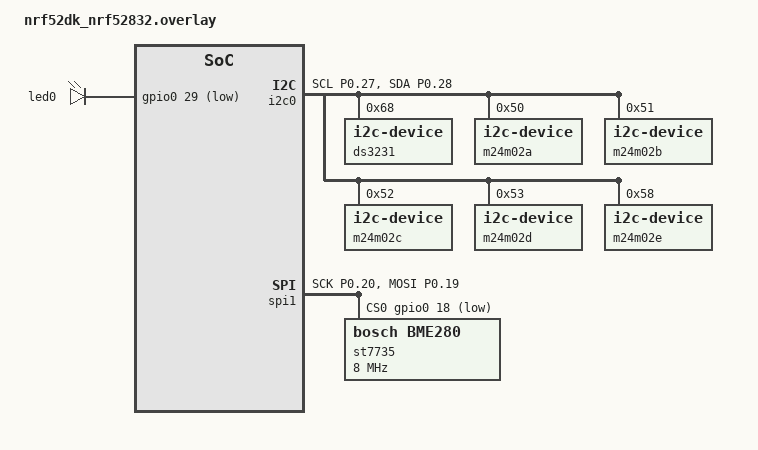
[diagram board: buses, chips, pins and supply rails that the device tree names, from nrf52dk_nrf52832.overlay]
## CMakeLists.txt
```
cmake_minimum_required(VERSION 3.20.0)
find_package(Zephyr REQUIRED HINTS $ENV{ZEPHYR_BASE})

project(25_CubeWatch)

target_sources(app PRIVATE src/main.c src/ds3231_driver.c src/st7735_driver.c 
        src/nrf52832_driver.c src/m24m02_driver.c src/qoi.c src/led.c)
```

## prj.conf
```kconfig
CONFIG_I2C=y
CONFIG_CBPRINTF_FP_SUPPORT=y

CONFIG_LOG=y

CONFIG_SPI=y

CONFIG_BT=y
CONFIG_BT_PERIPHERAL=y
CONFIG_BT_DEVICE_NAME="Cube Watch"

# CONFIG_HEAP_MEM_POOL_SIZE=2048
```

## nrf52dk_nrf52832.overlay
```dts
// To get started, press Ctrl+Space to bring up the completion menu and view the available nodes.

// You can also use the buttons in the sidebar to perform actions on nodes.
// Actions currently available include:

// * Enabling / disabling the node
// * Adding the bus to a bus
// * Removing the node
// * Connecting ADC channels

// For more help, browse the DeviceTree documentation at https://docs.zephyrproject.org/latest/guides/dts/index.html
// You can also visit the nRF DeviceTree extension documentation at https://nrfconnect.github.io/vscode-nrf-connect/devicetree/nrfdevicetree.html

/* i2c0 can not be used together with spi0 same as i2c1 with spi1 */

// disable spi0
&spi0 {
    status = "disabled";
};

// disable i2c0
// &i2c0 {
//     status = "disabled";
// };

// disable spi1
// &spi1 {
//     status = "disabled";
// };


// disable i2c1
&i2c1 {
    status = "disabled";
};

&pinctrl {
    i2c0_default: i2c0_default {
        group1 {
            psels = <NRF_PSEL(TWIM_SCL, 0, 27)>,
                    <NRF_PSEL(TWIM_SDA, 0, 28)>;
        };
    };

    i2c0_sleep: i2c0_sleep {
        group1 {
            psels = <NRF_PSEL(TWIM_SCL, 0, 27)>,
                    <NRF_PSEL(TWIM_SDA, 0, 28)>;
            low-power-enable;
        };
    };

    spi1_default: spi1_default {
        group1 {
            psels = <NRF_PSEL(SPIM_SCK, 0, 20)>,
                    <NRF_PSEL(SPIM_MOSI, 0, 19)>;
        };
    };

    spi1_sleep: spi1_sleep {
        group1 {
            psels = <NRF_PSEL(SPIM_SCK, 0, 20)>,
                    <NRF_PSEL(SPIM_MOSI, 0, 19)>;
            low-power-enable;
        };
    };

};

&i2c0 {
    compatible = "nordic,nrf-twim";
	status = "okay";
	pinctrl-0 = <&i2c0_default>;
	pinctrl-1 = <&i2c0_sleep>;
	pinctrl-names = "default", "sleep";

    ds3231: ds3231@68{
        compatible = "i2c-device";
        reg = < 0x68 >;
        status = "okay";
    };

    m24m02a: m24m02a@50{                                                                            // A17 A16 = 0 0
        compatible = "i2c-device";
        reg = < 0x50 >;
        status = "okay";
    };

    m24m02b: m24m02b@51{                                                                            // A17 A16 = 0 1
        compatible = "i2c-device";
        reg = < 0x51 >;
        status = "okay";
    };

    m24m02c: m24m02c@52{                                                                            // A17 A16 = 1 0
        compatible = "i2c-device";
        reg = < 0x52 >;
        status = "okay";
    };

    m24m02d: m24m02d@53{                                                                            // A17 A16 = 1 1
        compatible = "i2c-device";
        reg = < 0x53 >;
        status = "okay";
    };

    m24m02e: m24m02e@58{
        compatible = "i2c-device";
        reg = < 0x58 >;
        status = "okay";
    };
};

&spi1 {
    compatible = "nordic,nrf-spi";
    status = "okay";
    pinctrl-0 = <&spi1_default>;
    pinctrl-1 = <&spi1_sleep>;
    pinctrl-names = "default", "sleep";
    cs-gpios = <&gpio0 18 GPIO_ACTIVE_LOW>,                                                         // cs
               <&gpio0 17 GPIO_ACTIVE_LOW>,                                                         // 0: cmd mode, 1: data mode
               <&gpio0 16 GPIO_ACTIVE_HIGH>;                                                        // bl

    st7735: st7735@0 {                                                                              // width: 130, height: 131
        compatible = "bosch,bme280";                                                                // use this as a common spi device
		reg = <0x0>;
        spi-max-frequency = <8000000>;
	};
};

/ {
    leds {
        led0: led_0 {
			gpios = <&gpio0 29 GPIO_ACTIVE_LOW>;
		};
    };
};
```

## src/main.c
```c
#include "main.h"
#include "common.h"

#include <zephyr/kernel.h>

#include <zephyr/logging/log.h>

LOG_MODULE_REGISTER(main, LOG_LEVEL_ERR);

static void write_screen_thread(void) {
	while(1) {
		// read time
		ds3231_time_read();

		if(ds3231_is_time_changed()) {

			ds3231_time_cover();

			// display
			// st7735_screen_write();
		}
		LOG_DBG("running...");
		k_msleep(1000);
	}
}

K_THREAD_DEFINE(write_screen_thread_id, STACKSIZE, write_screen_thread, 
		NULL, NULL, NULL, WRITE_SCREEN_PRIORITY, 0, 0);

void write_screen_thread_suspend(void) {
	k_thread_suspend(write_screen_thread_id);
}

void write_screen_thread_resume(void) {
	k_thread_resume(write_screen_thread_id);
}

int main(void)
{
	if(ds3231_init()) {
		LOG_ERR("ds3231 init failed!");
		return -1;
	}

	if(ds3231_time_write(0x50, 0x49, 0x15, 0x06, 0x02, 0x04, 0x24)) {
		LOG_ERR("time write failed!");
		return -1;
	}
	LOG_DBG("ds3231 init succeed!");

	if(m24m02_init()) {
		LOG_ERR("m24m02 init failed!");
		return -1;
	}
	LOG_DBG("m24m02 init succeed!");

	if(st7735_init()) {
		LOG_ERR("st7735 init failed!");
		return -1;
	}
	LOG_DBG("st7735 init succeed!");

	if(nrf52832_init()) {
		LOG_ERR("nrf52832 init failed!");
		return -1;
	}

	if (led_init()) {
		LOG_ERR("led init failed!");
		return -1;
	}

	ds3231_time_read();
	// st7735_screen_write();

	qoi_init();
	led_on();

	// uint8_t *buf;
	// buf = k_malloc(5);
	// if (buf) {
	// 	LOG_ERR("malloc have enough space");
	// } else {
	// 	LOG_ERR("malloc no enough space");
	// }

    return 0;
}
```

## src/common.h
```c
#ifndef _COMMON_H_
#define _COMMON_H_

#include <zephyr/kernel.h>

int ds3231_init(void);
int ds3231_time_write(uint8_t seconds, uint8_t minutes, uint8_t hours, 
        uint8_t day, uint8_t date, uint8_t month_century, uint8_t year);
int ds3231_time_read(void);
void ds3231_time_cover(void);
int ds3231_is_time_changed(void);
uint8_t ds3231_get_time_minutes_units(void);
uint8_t ds3231_get_time_minutes_tens(void);
uint8_t ds3231_get_time_hours_units(void);
uint8_t ds3231_get_time_hours_tens(void);
void ds3231_bcd_time_curr_print(void);
void ds3231_dec_time_curr_print(void);

int st7735_init(void);
// int st7735_screen_write(void);

int nrf52832_init(void);

void write_screen_thread_suspend(void);
void write_screen_thread_resume(void);

int m24m02_init(void);
int m24m02x_write(uint8_t sector, uint8_t addr_high, uint8_t addr_low, uint8_t *buf, size_t length);
int m24m02e_write(uint8_t addr, uint8_t *buf, size_t length);
int m24m02x_read(uint8_t sector, uint8_t addr_high, uint8_t addr_low, uint8_t *buf, size_t length);
int m24m02e_read(uint8_t addr, uint8_t *buf, size_t length);

void qoi_init(void);

int led_init(void);
int led_on(void);
int led_off(void);

#endif
```

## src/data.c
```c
#include "data.h"

#include <zephyr/kernel.h>

#include <zephyr/logging/log.h>

LOG_MODULE_REGISTER(data, LOG_LEVEL_DBG);

uint8_t* get_ds3231_reg_value_bcd_st(void) {
    return &ds3231_reg_value_bcd;
}

uint8_t* get_ds3231_reg_value_dec_st(void) {
    return &ds3231_reg_value_dec;
}

uint8_t* get_ds3231_reg_value_dec_previous_st(void) {
    return &ds3231_reg_value_dec_previous;
}

void ds3231_reg_value_bcd_print(void) {
    LOG_DBG("seconds reg is: 0x%.02x", *get_ds3231_reg_value_bcd_st());
    LOG_DBG("minutes reg is: 0x%.02x", *(get_ds3231_reg_value_bcd_st() + 1));
	LOG_DBG("hours reg is: 0x%.02x", *(get_ds3231_reg_value_bcd_st() + 2));
	LOG_DBG("");
}

void ds3231_reg_value_dec_print(void) {
    LOG_DBG("minutes units: %d", *get_ds3231_reg_value_dec_st());
	LOG_DBG("minutes tens: %d", *(get_ds3231_reg_value_dec_st() + 1));
	LOG_DBG("hours units: %d", *(get_ds3231_reg_value_dec_st() + 2));
	LOG_DBG("hours tens: %d", *(get_ds3231_reg_value_dec_st() + 3));
	LOG_DBG("");
}

void ds3231_reg_value_dec_previous_print(void) {
    LOG_DBG("minutes units: %d", *get_ds3231_reg_value_dec_previous_st());
	LOG_DBG("minutes tens: %d", *(get_ds3231_reg_value_dec_previous_st() + 1));
	LOG_DBG("hours units: %d", *(get_ds3231_reg_value_dec_previous_st() + 2));
	LOG_DBG("hours tens: %d", *(get_ds3231_reg_value_dec_previous_st() + 3));
	LOG_DBG("");
}
```

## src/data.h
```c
#ifndef _DATA_H_
#define _DATA_H_

#include <zephyr/kernel.h>

struct ds3231_reg_value_bcd_st {
    uint8_t seconds;
    uint8_t minutes;
    uint8_t hours;
    uint8_t day;
    uint8_t date;
    uint8_t month_century;
    uint8_t year;
};

static struct ds3231_reg_value_bcd_st ds3231_reg_value_bcd;                                         // get time from ds3231

struct ds3231_reg_value_dec_st {
    uint8_t minutes_units;
    uint8_t minutes_tens;
    uint8_t hours_units;
    uint8_t hours_tens;
};

static struct ds3231_reg_value_dec_st ds3231_reg_value_dec;                                         // dec time
static struct ds3231_reg_value_dec_st ds3231_reg_value_dec_previous;                                // last second's dec time

uint8_t* get_ds3231_reg_value_bcd_st(void);
uint8_t* get_ds3231_reg_value_dec_st(void);
uint8_t* get_ds3231_reg_value_dec_previous_st(void);
void ds3231_reg_value_bcd_print(void);
void ds3231_reg_value_dec_print(void);
void ds3231_reg_value_dec_previous_print(void);
uint8_t* get_ds3231_set_time(void);

#endif
```

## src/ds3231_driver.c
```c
#include "ds3231_driver.h"
#include "common.h"

#include <zephyr/kernel.h>
#include <zephyr/drivers/i2c.h>

#include <zephyr/logging/log.h>

LOG_MODULE_REGISTER(ds3231, LOG_LEVEL_DBG);

static const struct i2c_dt_spec ds3231_i2c = I2C_DT_SPEC_GET(DT_NODELABEL(ds3231));

/*
 * @brief ds3231 init func
 *
 * @retval 0 succeed
 * @retval -1 failed
 */
int ds3231_init(void) {
    if(!device_is_ready(ds3231_i2c.bus)) {
        return -1;
    }

    if(ds3231_control_reg_init()) {
        return -1;
    }

    if(ds3231_time_read()) {
        return -1;
    }
    ds3231_time_cover();

    return 0;
}

/*
 * @brief control register init func
 *
 * @retval 0 succeed
 * @retval -1 failed
 */
static int ds3231_control_reg_init(void) {
    ds3231_tx_buf[0] = DS3231_CONTROL_REG_ADDRESS;
    ds3231_tx_buf[1] = 0x1C;

    return ds3231_write(2);
}

/*
 * @brief write reg(s) value
 *
 * @param length length to write
 * 
 * @retval 0 succeed
 * @retval -1 failed
 */
static int ds3231_write(size_t length) {
    return i2c_write_dt(&ds3231_i2c, ds3231_tx_buf, length);
}

/*
 * @brief write time
 *
 * @param buf data buffer will be written into register(s)
 * 
 * @retval 0 succeed
 * @retval -1 failed
 */
int ds3231_time_write(uint8_t seconds, uint8_t minutes, uint8_t hours, 
        uint8_t day, uint8_t date, uint8_t month_century, uint8_t year) {
    ds3231_tx_buf[0] = DS3231_SECONDS_REG_ADDRESS;
    ds3231_tx_buf[1] = seconds;                                                                     // SECONDS
    ds3231_tx_buf[2] = minutes;                                                                     // MINUTES
    ds3231_tx_buf[3] = hours;                                                                       // HOURS
    ds3231_tx_buf[4] = day;                                                                         // DAY
    ds3231_tx_buf[5] = date;                                                                        // DATE
    ds3231_tx_buf[6] = month_century;                                                               // MONTH_CENTURY
    ds3231_tx_buf[7] = year;                                                                        // YEAR

    return ds3231_write(8);
}

/*
 * @brief read from reg(s)
 *
 * @retval 0 succeed
 * @retval -1 failed
 */
int ds3231_time_read(void) {
    if (i2c_write_read_dt(&ds3231_i2c, ds3231_rx_addr, 1, &ds3231_bcd_time_curr, 7)) {
        return -1;
    }
    ds3231_time_bcd_2_dec();
    return 0;
}

/*
 * @brief cover latest time to previous time
 */
void ds3231_time_cover(void) {
    memcpy(&ds3231_bcd_time_prev, &ds3231_bcd_time_curr, sizeof(struct ds3231_time_st));
}

/*
 * @brief bcd data to dec data
 */
static void ds3231_time_bcd_2_dec(void) {
    ds3231_dec_time_curr.seconds = ds3231_bcd_2_dec(ds3231_bcd_time_curr.seconds);
    ds3231_dec_time_curr.minutes = ds3231_bcd_2_dec(ds3231_bcd_time_curr.minutes);
    ds3231_dec_time_curr.hours = ds3231_bcd_2_dec(ds3231_bcd_time_curr.hours);
    ds3231_dec_time_curr.day = ds3231_bcd_2_dec(ds3231_bcd_time_curr.day);
    ds3231_dec_time_curr.date = ds3231_bcd_2_dec(ds3231_bcd_time_curr.date);
    ds3231_dec_time_curr.month_century = ds3231_bcd_2_dec(ds3231_bcd_time_curr.month_century);
    ds3231_dec_time_curr.year = ds3231_bcd_2_dec(ds3231_bcd_time_curr.year);
}

/*
 * @brief bcd data to dec data
 */
static uint8_t ds3231_bcd_2_dec(uint8_t bcd) {

    uint8_t temp_tens = bcd >> 4;
    uint8_t temp_units = bcd & 0x0F;

    return temp_tens * 10 + temp_units;
}

/*
 * @brief if time changed
 *
 * @retval 0 not changed
 * @retval others changed
 */
int ds3231_is_time_changed(void) {
    return memcmp(&ds3231_bcd_time_curr + DS3231_MINUTES_REG_ADDRESS, 
            &ds3231_bcd_time_prev + DS3231_MINUTES_REG_ADDRESS, DS3231_YEAR_REG_ADDRESS);
}

/*
 * @brief get minutes units
 *
 * @return uint8_t minutes units
 */
uint8_t ds3231_get_time_minutes_units(void) {
    return ds3231_dec_time_curr.minutes % 10;
}

/*
 * @brief get minutes tens
 *
 * @return uint8_t minutes tens
 */
uint8_t ds3231_get_time_minutes_tens(void) {
    return ds3231_dec_time_curr.minutes / 10;
}

/*
 * @brief get hours units
 *
 * @return uint8_t hours units
 */
uint8_t ds3231_get_time_hours_units(void) {
    return ds3231_dec_time_curr.hours % 10;
}

/*
 * @brief get hours tens
 *
 * @return uint8_t hours tens
 */
uint8_t ds3231_get_time_hours_tens(void) {
    return ds3231_dec_time_curr.hours / 10;
}

/*
 * @brief print bcd current time
 */
void ds3231_bcd_time_curr_print(void) {
    LOG_DBG("bcd time current [seconds] is: 0x%.02x", ds3231_bcd_time_curr.seconds);
	LOG_DBG("bcd time current [minutes] is: 0x%.02x", ds3231_bcd_time_curr.minutes);
    LOG_DBG("bcd time current [hours] is: 0x%.02x", ds3231_bcd_time_curr.hours);
    LOG_DBG("bcd time current [day] is: 0x%.02x", ds3231_bcd_time_curr.day);
    LOG_DBG("bcd time current [date] is: 0x%.02x", ds3231_bcd_time_curr.date);
    LOG_DBG("bcd time current [month_century] is: 0x%.02x", ds3231_bcd_time_curr.month_century);
    LOG_DBG("bcd time current [year] is: 0x%.02x", ds3231_bcd_time_curr.year);
}

/*
 * @brief print dec current time
 */
void ds3231_dec_time_curr_print(void) {
    LOG_DBG("dec time current [seconds] is: %d", ds3231_dec_time_curr.seconds);
	LOG_DBG("dec time current [minutes] is: %d", ds3231_dec_time_curr.minutes);
    LOG_DBG("dec time current [hours] is: %d", ds3231_dec_time_curr.hours);
    LOG_DBG("dec time current [day] is: %d", ds3231_dec_time_curr.day);
    LOG_DBG("dec time current [date] is: %d", ds3231_dec_time_curr.date);
    LOG_DBG("dec time current [month_century] is: %d", ds3231_dec_time_curr.month_century);
    LOG_DBG("dec time current [year] is: %d", ds3231_dec_time_curr.year);
}
```

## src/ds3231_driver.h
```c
#ifndef _DS3231_DRIVER_H_
#define _DS3231_DRIVER_H_

#include <zephyr/kernel.h>

#define DS3231_SECONDS_REG_ADDRESS          0x00
#define DS3231_MINUTES_REG_ADDRESS          0x01
#define DS3231_HOURS_REG_ADDRESS            0x02
#define DS3231_DAY_REG_ADDRESS              0x03
#define DS3231_DATE_REG_ADDRESS             0x04
#define DS3231_MONTH_CENTURY_REG_ADDRESS    0x05
#define DS3231_YEAR_REG_ADDRESS             0x06
#define DS3231_CONTROL_REG_ADDRESS			0x0E

#define DS3231_TX_BUF_SIZE_MAX 20                                                                   // 19 register + addr
#define DS3231_RX_ADDR_BUF_SIZE 1

static uint8_t ds3231_tx_buf[DS3231_TX_BUF_SIZE_MAX];
static uint8_t ds3231_rx_addr[DS3231_RX_ADDR_BUF_SIZE];

struct ds3231_time_st {
    uint8_t seconds;
    uint8_t minutes;
    uint8_t hours;
    uint8_t day;
    uint8_t date;
    uint8_t month_century;
    uint8_t year;
};

static struct ds3231_time_st ds3231_bcd_time_curr;											        // current bcd time
static struct ds3231_time_st ds3231_bcd_time_prev;											        // previous bcd time
static struct ds3231_time_st ds3231_dec_time_curr;                                                  // current dec time

static int ds3231_control_reg_init(void);
static int ds3231_write(size_t length);
static void ds3231_time_bcd_2_dec(void);
static uint8_t ds3231_bcd_2_dec(uint8_t bcd);

#endif
```

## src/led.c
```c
#include "led.h"
#include "common.h"

#include <zephyr/kernel.h>

#include <zephyr/drivers/gpio.h>

struct gpio_dt_spec led_gpiospec = GPIO_DT_SPEC_GET(DT_NODELABEL(led0), gpios);

/*
 * @brief led init func
 *
 * @retval 0 succeed
 * @retval -1 failed
 */
int led_init(void) {

	if(!gpio_is_ready_dt(&led_gpiospec)) {
		return -1;
	}

    if(gpio_pin_configure_dt(&led_gpiospec, GPIO_OUTPUT_INACTIVE)) {
		return -1;
	}

	return 0;
}

int led_on(void) {
    if(gpio_pin_configure_dt(&led_gpiospec, GPIO_OUTPUT_ACTIVE)) {
		return -1;
	}

    return 0;
}

int led_off(void) {
    if(gpio_pin_configure_dt(&led_gpiospec, GPIO_OUTPUT_INACTIVE)) {
		return -1;
	}

    return 0;
}
```

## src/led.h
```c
#ifndef _LED_H_
#define _LED_H_

#endif
```

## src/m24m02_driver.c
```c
#include "m24m02_driver.h"
#include "common.h"

#include <zephyr/kernel.h>
#include <zephyr/drivers/i2c.h>

#include <zephyr/logging/log.h>

LOG_MODULE_REGISTER(m24m02, LOG_LEVEL_ERR);

/*
 * @brief m24m02 is a 2Mbit EEPROM, 
 *        A0-A17 address bits, 2 ^ 8 * 2 ^ 10 = 256K, 
 *        each address bit corresponding 1 byte data, 
 *        256K * 8 bit = 2Mbit. 
 */
static const struct i2c_dt_spec m24m02a_i2c = I2C_DT_SPEC_GET(DT_NODELABEL(m24m02a));
/*
 * @brief m24m02b (same as m24m02a, m24m02c, m24m02d) can be regarded as 512Kbit memory, 
 *        A0-A15 address bits, 2 ^ 6 * 2 ^ 10 = 64K, 
 *        each address bit corresponding 1 byte data, 
 *        64K * 8 bit = 512Kbit. 
 */
static const struct i2c_dt_spec m24m02b_i2c = I2C_DT_SPEC_GET(DT_NODELABEL(m24m02b));
static const struct i2c_dt_spec m24m02c_i2c = I2C_DT_SPEC_GET(DT_NODELABEL(m24m02c));
static const struct i2c_dt_spec m24m02d_i2c = I2C_DT_SPEC_GET(DT_NODELABEL(m24m02d));
/*
 * @brief m24m02e is the Identification Page (256 byte), 
 *        A0-A7 address bit, 2 ^ 8 = 256, 
 *        each address bit corresponding 1 byte data, 
 *        256 * 8 bit = 256 byte. 
 */
static const struct i2c_dt_spec m24m02e_i2c = I2C_DT_SPEC_GET(DT_NODELABEL(m24m02e));

/*
 * @brief m24m02 init function
 *
 * @retval 0 succeed
 * @retval -1 failed
 */
int m24m02_init(void) {

    if(!device_is_ready(m24m02a_i2c.bus)) {
        return -1;
    }

    if(!device_is_ready(m24m02b_i2c.bus)) {
        return -1;
    }

    if(!device_is_ready(m24m02c_i2c.bus)) {
        return -1;
    }

    if(!device_is_ready(m24m02d_i2c.bus)) {
        return -1;
    }

    if(!device_is_ready(m24m02e_i2c.bus)) {
        return -1;
    }

    return 0;
}

/*
 * @brief m24m02 write byte
 *
 * @param sector a = 0, b = 1, c = 2 and d = 3
 * @param addr_high A15-A8 address
 * @param addr_low A7-A0 address
 * @param buf data buffer
 * @param length data length
 * 
 * @retval 0 succeed
 * @retval -1 failed
 */
int m24m02x_write(uint8_t sector, uint8_t addr_high, uint8_t addr_low, 
        uint8_t *buf, size_t length) {

    LOG_DBG("[sector %d] remains %d byte, and need %d byte...", 
            sector, (256 - addr_high - 1) * 256 + (256 - addr_low), length);

    // check if there is enough space
    if (((256 - addr_high - 1) * 256 + (256 - addr_low)) >= length) {                               // enough

        LOG_DBG("enough space...");

        uint8_t curr_addr_high = addr_high;
        uint8_t curr_addr_low = addr_low;
        size_t shift = 0;

        if (length <= (256 - curr_addr_low)) {                                                      // 1 page

            LOG_DBG("need 1 page...");
            LOG_DBG("start to write page 1...");

            memcpy(m24m02_tx_buf, buf, length);
            if (m24m02_send(sector, curr_addr_high, curr_addr_low, length)) {
                return -1;
            }

            LOG_DBG("write from 0x%.02x 0x%.02x to 0x%.02x 0x%.02x, %d byte...", 
                    curr_addr_high, curr_addr_low, curr_addr_high, 
                    curr_addr_low + length - 1, length);
            LOG_DBG("page 1 done...");
            LOG_DBG("remain 0 byte...");
            LOG_DBG("write secceed.");
            printk("\r\n");

            return 0;

        } else {                                                                                    // > 1 page

            LOG_DBG("need more than 1 page.");
            LOG_DBG("start to write page 1...");

            memcpy(m24m02_tx_buf, buf, 256 - curr_addr_low);
            if (m24m02_send(sector, curr_addr_high, curr_addr_low, 256 - curr_addr_low)) {
                return -1;
            }

            shift = 256 - curr_addr_low;

            LOG_DBG("write from 0x%.02x 0x%.02x to 0x%.02x 0xFF, %d byte...", 
                    curr_addr_high, curr_addr_low, curr_addr_high, shift);
            LOG_DBG("page 1 done...");
            LOG_DBG("remain %d byte...", length - shift);
            LOG_DBG("buf pointer moves from %p to %p...", (void *)buf, (void *)(buf + shift - 1));
            LOG_DBG("shift is %d...", shift);
            printk("\r\n");

            curr_addr_high += 1;                                                                    // will not bound
            curr_addr_low = 0x00;

            uint8_t i;

            for (i = 0; i < ((length - (256 - addr_low)) / 256); i++) {

                LOG_DBG("start to write page %d...", i + 2);

                memcpy(m24m02_tx_buf, buf + shift, 256);
                if (m24m02_send(sector, curr_addr_high, curr_addr_low, 256)) {
                    return -1;
                }

                shift += 256;

                LOG_DBG("write from 0x%.02x 0x00 to 0x%.02x 0xFF, 256 byte...", 
                        curr_addr_high, curr_addr_high);
                LOG_DBG("page %d done...", i + 2);
                LOG_DBG("remain %d byte...", length - shift);

                if (length - shift == 0) {                                                          // no data left
                    LOG_DBG("write secceed.");
                    printk("\r\n");
                    return 0;
                } else {
                    curr_addr_high += 1;                                                            // will not bound

                    LOG_DBG("buf pointer moves from %p to %p...", 
                            (void *)(buf + shift - 256), (void *)(buf + shift - 1));
                    LOG_DBG("shift is %d...", shift);
                    printk("\r\n");
                }
            }

            if (i == 0) {                                                                           // not enter the loop
                i = 2;
            } else {
                i = (length - (256 - addr_low)) / 256 + 2;
            }

            LOG_DBG("start to write page %d...", i);

            memcpy(m24m02_tx_buf, buf + shift, length - shift);
            if (m24m02_send(sector, curr_addr_high, curr_addr_low, length - shift)) {
                return -1;
            }

            LOG_DBG("write from 0x%.02x 0x00 to 0x%.02x 0x%.02x, %d byte...", 
                    curr_addr_high, curr_addr_high, length - shift - 1, length - shift);
            LOG_DBG("page %d done...", i);
            LOG_DBG("remain 0 byte...");
            LOG_DBG("write secceed.");
            printk("\r\n");

            return 0;
        }
    } else {                                                                                        // not enough

        LOG_ERR("no enough space!");
        LOG_ERR("write failed!");
        printk("\r\n");
        return -1;

    }
}

/*
 * @brief m24m02 identification page write byte
 *
 * @param addr A7-A0 address
 * @param buf data buffer
 * @param length data length
 * 
 * @retval 0 succeed
 * @retval -1 failed
 */
int m24m02e_write(uint8_t addr, uint8_t *buf, size_t length) {
    LOG_DBG("[sector e] remains %d byte, and need %d byte...", 256 - addr, length);

    if (length <= 256 - addr) {                                                                     // enough space

        LOG_DBG("enough space...");
        LOG_DBG("start to write [sector e]...");

        memcpy(m24m02_tx_buf, buf, length);
        if (m24m02_send(4, 0x00, addr, length)) {
            return -1;
        }

        LOG_DBG("write from 0x%.02x to 0x%.02x, %d byte...", addr, addr + length - 1, length);
        LOG_DBG("[sector e] done...");
        LOG_DBG("write secceed.");
        printk("\r\n");

        return 0;

    } else {

        LOG_ERR("no enough space!");
        LOG_ERR("write failed!");
        printk("\r\n");
        return -1;

    }
}

static int m24m02_send(uint8_t sector, uint8_t addr_high, uint8_t addr_low, size_t length) {

    if (length + 2 > 255) {                                                                         // should send twice
        if (m24m02_send_twice(sector, addr_high, addr_low, length)) {
            return -1;
        }
    } else {                                                                                        // send once
        if (m24m02_send_once(sector, addr_high, addr_low, length)) {
            return -1;
        }
    }
    
    return 0;
}

static int m24m02_send_twice(uint8_t sector, uint8_t addr_high, uint8_t addr_low, size_t length) {
    m24m02_tx_buf_part1[0] = addr_high;
    m24m02_tx_buf_part1[1] = addr_low;
    memcpy(m24m02_tx_buf_part1 + 2, m24m02_tx_buf, 253);

    m24m02_tx_buf_part2[0] = addr_high;
    m24m02_tx_buf_part2[1] = addr_low + 253;
    memcpy(m24m02_tx_buf_part2 + 2, m24m02_tx_buf + 253, length - 253);

    switch (sector) {
        case 0:
            if(i2c_write_dt(&m24m02a_i2c, m24m02_tx_buf_part1, 255)) {
                return -1;
            }
            k_msleep(DELAY_MS);
            if(i2c_write_dt(&m24m02a_i2c, m24m02_tx_buf_part2, length - 253 + 2)) {
                return -1;
            }
            break;
        case 1:
            if(i2c_write_dt(&m24m02b_i2c, m24m02_tx_buf_part1, 255)) {
                return -1;
            }
            k_msleep(DELAY_MS);
            if(i2c_write_dt(&m24m02b_i2c, m24m02_tx_buf_part2, length - 253 + 2)) {
                return -1;
            }
            break;
        case 2:
            if(i2c_write_dt(&m24m02c_i2c, m24m02_tx_buf_part1, 255)) {
                return -1;
            }
            k_msleep(DELAY_MS);
            if(i2c_write_dt(&m24m02c_i2c, m24m02_tx_buf_part2, length - 253 + 2)) {
                return -1;
            }
            break;
        case 3:
            if(i2c_write_dt(&m24m02d_i2c, m24m02_tx_buf_part1, 255)) {
                return -1;
            }
            k_msleep(DELAY_MS);
            if(i2c_write_dt(&m24m02d_i2c, m24m02_tx_buf_part2, length - 253 + 2)) {
                return -1;
            }
            break;
        case 4:
            if(i2c_write_dt(&m24m02e_i2c, m24m02_tx_buf_part1, 255)) {
                return -1;
            }
            k_msleep(DELAY_MS);
            if(i2c_write_dt(&m24m02e_i2c, m24m02_tx_buf_part2, length - 253 + 2)) {
                return -1;
            }
            break;
        default:
            return -1;
    }

    k_msleep(DELAY_MS);

    return 0;
}

static int m24m02_send_once(uint8_t sector, uint8_t addr_high, uint8_t addr_low, size_t length) {
    m24m02_tx_buf_part1[0] = addr_high;
    m24m02_tx_buf_part1[1] = addr_low;
    memcpy(m24m02_tx_buf_part1 + 2, m24m02_tx_buf, length);

    switch (sector) {
        case 0:
            if(i2c_write_dt(&m24m02a_i2c, m24m02_tx_buf_part1, length + 2)) {
                return -1;
            }
            break;
        case 1:
            if(i2c_write_dt(&m24m02b_i2c, m24m02_tx_buf_part1, length + 2)) {
                return -1;
            }
            break;
        case 2:
            if(i2c_write_dt(&m24m02c_i2c, m24m02_tx_buf_part1, length + 2)) {
                return -1;
            }
            break;
        case 3:
            if(i2c_write_dt(&m24m02d_i2c, m24m02_tx_buf_part1, length + 2)) {
                return -1;
            }
            break;
        case 4:
            if(i2c_write_dt(&m24m02e_i2c, m24m02_tx_buf_part1, length + 2)) {
                return -1;
            }
            break;
        default:
            return -1;
    }
    
    k_msleep(DELAY_MS);

    return 0;
}



/*
 * @brief m24m02 read byte
 *
 * @param sector a, b, c and d
 * @param addr_high A15-A8 address
 * @param addr_low A7-A0 address
 * @param buf where data will be written to
 * @param length data length
 * 
 * @retval 0 succeed
 * @retval -1 failed
 */
int m24m02x_read(uint8_t sector, uint8_t addr_high, uint8_t addr_low, 
        uint8_t *buf, size_t length) {

    if (((256 - addr_high - 1) * 256 + (256 - addr_low)) >= length) {
        LOG_DBG("read address checked...");
        
        uint8_t curr_addr_high = addr_high;
        uint8_t curr_addr_low = addr_low;
        size_t shift = 0;

        if (length <= (256 - curr_addr_low)) {
            LOG_DBG("have 1 page...");
            LOG_DBG("start to read page 1...");

            m24m02_rx_addr[0] = curr_addr_high;
            m24m02_rx_addr[1] = curr_addr_low;
            if (m24m02_receive(sector, buf, length)) {
                return -1;
            }

            LOG_DBG("read from 0x%.02x 0x%.02x to 0x%.02x 0x%.02x, %d byte...", 
                    curr_addr_high, curr_addr_low, curr_addr_high, 
                    curr_addr_low + length - 1, length);
            LOG_DBG("page 1 done...");
            LOG_DBG("remain 0 byte...");
            LOG_DBG("read secceed.");
            printk("\r\n");

            return 0;

        } else {
            LOG_DBG("have more than 1 page...");
            LOG_DBG("start to read page 1...");

            m24m02_rx_addr[0] = curr_addr_high;
            m24m02_rx_addr[1] = curr_addr_low;
            if (m24m02_receive(sector, buf, 256 - curr_addr_low)) {
                return -1;
            }

            shift = 256 - curr_addr_low;

            LOG_DBG("read from 0x%.02x 0x%.02x to 0x%.02x 0xFF, %d byte...", 
                    curr_addr_high, curr_addr_low, curr_addr_high, shift);
            LOG_DBG("page 1 done...");
            LOG_DBG("remain %d byte...", length - shift);
            LOG_DBG("buf pointer moves from %p to %p...", (void *)buf, (void *)(buf + shift - 1));
            LOG_DBG("shift is %d...", shift);
            printk("\r\n");

            curr_addr_high += 1;                                                                    // will not bound
            curr_addr_low = 0x00;

            uint8_t i;

            for (i = 0; i < ((length - (256 - addr_low)) / 256); i++) {

                LOG_DBG("start to read page %d...", i + 2);

                m24m02_rx_addr[0] = curr_addr_high;
                m24m02_rx_addr[1] = curr_addr_low;
                if (m24m02_receive(sector, buf + shift, 256)) {
                    return -1;
                }

                shift += 256;

                LOG_DBG("read from 0x%.02x 0x00 to 0x%.02x 0xFF, 256 byte...", 
                        curr_addr_high, curr_addr_high);
                LOG_DBG("page %d done...", i + 2);
                LOG_DBG("remain %d byte...", length - shift);

                if (length - shift == 0) {                                                          // no data left
                    LOG_DBG("read secceed.");
                    printk("\r\n");
                    return 0;
                } else {
                    curr_addr_high += 1;                                                            // will not bound

                    LOG_DBG("buf pointer moves from %p to %p...", 
                            (void *)(buf + shift - 256), (void *)(buf + shift - 1));
                    LOG_DBG("shift is %d...", shift);
                    printk("\r\n");
                }
            }

            if (i == 0) {                                                                           // not enter the loop
                i = 2;
            } else {
                i = (length - (256 - addr_low)) / 256 + 2;
            }

            LOG_DBG("start to read page %d...", i);

            m24m02_rx_addr[0] = curr_addr_high;
            m24m02_rx_addr[1] = curr_addr_low;
            if (m24m02_receive(sector, buf + shift, length - shift)) {
                return -1;
            }

            LOG_DBG("read from 0x%.02x 0x00 to 0x%.02x 0x%.02x, %d byte...", 
                    curr_addr_high, curr_addr_high, length - shift - 1, length - shift);
            LOG_DBG("page %d done...", i);
            LOG_DBG("remain 0 byte...");
            LOG_DBG("read secceed.");
            printk("\r\n");

            return 0;
        }
    } else {
        LOG_ERR("read address check failed!");
        LOG_ERR("read failed!");
        printk("\r\n");
        return -1;
    }
}

/*
 * @brief m24m02 identification page read byte
 *
 * @param addr A7-A0 address
 * @param buf where data will be written to
 * @param length data length
 * 
 * @retval 0 succeed
 * @retval -1 failed
 */
int m24m02e_read(uint8_t addr, uint8_t *buf, size_t length) {
    if ((256 - addr) >= length) {
        LOG_DBG("read address checked...");
        LOG_DBG("start to read [sector e]...");

        m24m02_rx_addr[0] = 0x00;
        m24m02_rx_addr[1] = addr;
        if (m24m02_receive(4, buf, length)) {
            return -1;
        }

        LOG_DBG("read from 0x%.02x to 0x%.02x, %d byte...", addr, addr + length - 1, length);
        LOG_DBG("[sector e] done...");
        LOG_DBG("read secceed.");
        printk("\r\n");

        return 0;
    } else {

        LOG_ERR("read address check failed!");
        LOG_ERR("read failed!");
        printk("\r\n");
        return -1;

    }
}

static int m24m02_receive(uint8_t sector, uint8_t *buf, size_t length) {

    if (length > 255) {                                                                             // length = 256, should reveive twice
        if (m24m02_receive_twice(sector, buf)) {
            return -1;
        }
    } else {                                                                                        // reveive once
        if (m24m02_receive_once(sector, buf, length)) {
            return -1;
        }
    }
    
    return 0;
}

static int m24m02_receive_twice(uint8_t sector, uint8_t *buf) {

    switch (sector) {
        case 0:
            if(i2c_write_read_dt(&m24m02a_i2c, m24m02_rx_addr, 
                    sizeof(m24m02_rx_addr), buf, 255)) {
                return -1;
            }
            k_msleep(DELAY_MS);
            m24m02_rx_addr[1] = 0xFF;
            if(i2c_write_read_dt(&m24m02a_i2c, m24m02_rx_addr, 
                    sizeof(m24m02_rx_addr), buf + 255, 1)) {
                return -1;
            }
            break;
        case 1:
            if(i2c_write_read_dt(&m24m02b_i2c, m24m02_rx_addr, 
                    sizeof(m24m02_rx_addr), buf, 255)) {
                return -1;
            }
            k_msleep(DELAY_MS);
            m24m02_rx_addr[1] = 0xFF;
            if(i2c_write_read_dt(&m24m02b_i2c, m24m02_rx_addr, 
                    sizeof(m24m02_rx_addr), buf + 255, 1)) {
                return -1;
            }
            break;
        case 2:
            if(i2c_write_read_dt(&m24m02c_i2c, m24m02_rx_addr, 
                    sizeof(m24m02_rx_addr), buf, 255)) {
                return -1;
            }
            k_msleep(DELAY_MS);
            m24m02_rx_addr[1] = 0xFF;
            if(i2c_write_read_dt(&m24m02c_i2c, m24m02_rx_addr, 
                    sizeof(m24m02_rx_addr), buf + 255, 1)) {
                return -1;
            }
            break;
        case 3:
            if(i2c_write_read_dt(&m24m02d_i2c, m24m02_rx_addr, 
                    sizeof(m24m02_rx_addr), buf, 255)) {
                return -1;
            }
            k_msleep(DELAY_MS);
            m24m02_rx_addr[1] = 0xFF;
            if(i2c_write_read_dt(&m24m02d_i2c, m24m02_rx_addr, 
                    sizeof(m24m02_rx_addr), buf + 255, 1)) {
                return -1;
            }
            break;
        case 4:
            if(i2c_write_read_dt(&m24m02e_i2c, m24m02_rx_addr, 
                    sizeof(m24m02_rx_addr), buf, 255)) {
                return -1;
            }
            k_msleep(DELAY_MS);
            m24m02_rx_addr[1] = 0xFF;
            if(i2c_write_read_dt(&m24m02e_i2c, m24m02_rx_addr, 
                    sizeof(m24m02_rx_addr), buf + 255, 1)) {
                return -1;
            }
            break;
        default:
            return -1;
    }

    k_msleep(DELAY_MS);
    
    return 0;
}

static int m24m02_receive_once(uint8_t sector, uint8_t *buf, size_t length) {
    switch (sector) {
        case 0:
            if(i2c_write_read_dt(&m24m02a_i2c, m24m02_rx_addr, 
                    sizeof(m24m02_rx_addr), buf, length)) {
                return -1;
            }
            break;
        case 1:
            if(i2c_write_read_dt(&m24m02b_i2c, m24m02_rx_addr, 
                    sizeof(m24m02_rx_addr), buf, length)) {
                return -1;
            }
            break;
        case 2:
            if(i2c_write_read_dt(&m24m02c_i2c, m24m02_rx_addr, 
                    sizeof(m24m02_rx_addr), buf, length)) {
                return -1;
            }
            break;
        case 3:
            if(i2c_write_read_dt(&m24m02d_i2c, m24m02_rx_addr, 
                    sizeof(m24m02_rx_addr), buf, length)) {
                return -1;
            }
            break;
        case 4:
            if(i2c_write_read_dt(&m24m02e_i2c, m24m02_rx_addr, 
                    sizeof(m24m02_rx_addr), buf, length)) {
                return -1;
            }
            break;
        default:
            return -1;
    }

    k_msleep(DELAY_MS);
    
    return 0;
}
```

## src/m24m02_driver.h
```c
#ifndef _M24M02_DRIVER_H_
#define _M24M02_DRIVER_H_

#include <zephyr/kernel.h>

#define DEBUG_MODE 0                                                                                // 1: true
#if DEBUG_MODE

#define DELAY_MS 100

#else

#define DELAY_MS 8

#endif



#define M24M02_TX_BUF_SIZE_MAX 256
#define M24M02_PART_BUF_SIZE_MAX 255                                                                // 256 - 1 byte Dev sel
#define M24M02_RX_ADDR_BUF_SIZE 2

static uint8_t m24m02_tx_buf[M24M02_TX_BUF_SIZE_MAX];
static uint8_t m24m02_tx_buf_part1[M24M02_PART_BUF_SIZE_MAX];
static uint8_t m24m02_tx_buf_part2[M24M02_PART_BUF_SIZE_MAX];
static uint8_t m24m02_rx_addr[M24M02_RX_ADDR_BUF_SIZE];

static int m24m02_send(uint8_t sector, uint8_t addr_high, uint8_t addr_low, size_t length);
static int m24m02_send_twice(uint8_t sector, uint8_t addr_high, uint8_t addr_low, size_t length);
static int m24m02_send_once(uint8_t sector, uint8_t addr_high, uint8_t addr_low, size_t length);
static int m24m02_receive(uint8_t sector, uint8_t *buf, size_t length);
static int m24m02_receive_twice(uint8_t sector, uint8_t *buf);
static int m24m02_receive_once(uint8_t sector, uint8_t *buf, size_t length);

#endif
```

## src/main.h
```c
#ifndef _MAIN_H_
#define _MAIN_H_

#include <zephyr/kernel.h>

#define STACKSIZE 1024

#define WRITE_SCREEN_PRIORITY 7

static void write_screen_thread(void);

#endif
```

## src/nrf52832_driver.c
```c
#include "nrf52832_driver.h"
#include "common.h"
#include <zephyr/kernel.h>

#include <zephyr/logging/log.h>

#include <zephyr/bluetooth/bluetooth.h>
#include <zephyr/bluetooth/hci.h>
#include <zephyr/bluetooth/conn.h>
#include <zephyr/bluetooth/uuid.h>
#include <zephyr/bluetooth/gatt.h>

LOG_MODULE_REGISTER(nrf52, LOG_LEVEL_DBG);

static struct bt_le_adv_param *adv_param = BT_LE_ADV_PARAM(
	    (BT_LE_ADV_OPT_CONNECTABLE |
	    BT_LE_ADV_OPT_USE_IDENTITY),                                                                // Connectable advertising and use identity address
	    800,                                                                                        // Min Advertising Interval 500ms (800*0.625ms)
	    801,                                                                                        // Max Advertising Interval 500.625ms (801*0.625ms)
	    NULL);                                                                                      // Set to NULL for undirected advertising

#define DEVICE_NAME CONFIG_BT_DEVICE_NAME
#define DEVICE_NAME_LEN (sizeof(DEVICE_NAME) - 1)

static const struct bt_data ad[] = {
	/* Set the advertising flags */
	BT_DATA_BYTES(BT_DATA_FLAGS, (BT_LE_AD_GENERAL | BT_LE_AD_NO_BREDR)),
	/* Set the advertising packet data  */
	BT_DATA(BT_DATA_NAME_COMPLETE, DEVICE_NAME, DEVICE_NAME_LEN),
};

static const struct bt_data sd[] = {
    BT_DATA_BYTES(BT_DATA_UUID128_ALL, CW_ADS_BT_UUID_VAL), 
};

static int receive_data(const void *buf, uint16_t len) {
	if (len == 17U) {
		uint8_t temp_date[17];

		memcpy(temp_date, buf, len);

		if(ds3231_time_write(0x50, 0x49, 0x15, 0x06, 0x02, 0x04, 0x24)) {
			return -1;
		} else {
			ds3231_time_read();
			// st7735_screen_write();
			return 0;
		}
	}
}

static ssize_t calibrate_time(struct bt_conn *conn, const struct bt_gatt_attr *attr, 
		const void *buf, uint16_t len, uint16_t offset, uint8_t flags) {

	receive_data(buf, len);

	return len;
}

static ssize_t customize_font(struct bt_conn *conn, const struct bt_gatt_attr *attr, 
		const void *buf, uint16_t len, uint16_t offset, uint8_t flags) {

	return len;
}

/* Create and add the MY LBS service to the Bluetooth LE stack */
BT_GATT_SERVICE_DEFINE(cube_watch_sevice, 
		/* primary service */
		BT_GATT_PRIMARY_SERVICE(CW_CTS_BT_UUID),
		/* calibration time service */
		BT_GATT_CHARACTERISTIC(CW_CTC_BT_UUID, 
				BT_GATT_CHRC_WRITE,
				BT_GATT_PERM_WRITE, 
				NULL, 
				calibrate_time, 
				NULL),
		BT_GATT_PRIMARY_SERVICE(CW_FCS_BT_UUID),
		BT_GATT_CHARACTERISTIC(CW_FCC_BT_UUID, 
				BT_GATT_CHRC_WRITE,
				BT_GATT_PERM_WRITE, 
				NULL, 
				customize_font, 
				NULL),
);

/*
 * @brief if connected
 */
static void on_connected(struct bt_conn *conn, uint8_t err) {
	if (err) {
		LOG_ERR("Connection failed (err %u)", err);
		return;
	}
    write_screen_thread_suspend();
    LOG_DBG("Connection succeed!");
}

/*
 * @brief if disconnected
 */
static void on_disconnected(struct bt_conn *conn, uint8_t reason) {
	LOG_DBG("Disconnected (reason %u)", reason);
	ds3231_time_read();
	// st7735_screen_write();
    write_screen_thread_resume();
}

/*
 * @brief connection callbacks
 */
struct bt_conn_cb connection_callbacks = {
	.connected = on_connected,
	.disconnected = on_disconnected,
};

/*
 * @brief nrf52832 init func
 *
 * @retval 0 succeed
 * @retval -1 failed
 */
int nrf52832_init(void) {
    /* Enable the Bluetooth LE stack */
    if(bt_enable(NULL)) {
        return -1;
    }

    bt_conn_cb_register(&connection_callbacks);

    /* Start advertising */
	if (bt_le_adv_start(adv_param, ad, ARRAY_SIZE(ad), sd, ARRAY_SIZE(sd))) {
		return -1;
	}

    return 0;
}
```

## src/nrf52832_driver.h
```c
#ifndef _NRF52832_DRIVER_H_
#define _NRF52832_DRIVER_H_

#define CW_ADS_BT_UUID_VAL BT_UUID_128_ENCODE(0x00004200, 0x4200, 0x0000, 0x0052, 0x6F6265727453)	// CW (cube watch) ADS (advertising service)
#define CW_ADS_BT_UUID BT_UUID_DECLARE_128(CW_ADS_BT_UUID_VAL)

#define CW_CTS_BT_UUID_VAL BT_UUID_128_ENCODE(0x00004200, 0x4201, 0x0000, 0x0052, 0x6F6265727453)	// CTS (calibration time service)
#define CW_CTS_BT_UUID BT_UUID_DECLARE_128(CW_CTS_BT_UUID_VAL)

#define CW_CTC_BT_UUID_VAL BT_UUID_128_ENCODE(0x00004200, 0x4202, 0x0000, 0x0052, 0x6F6265727453)	// CTC (calibration time characteristic)
#define CW_CTC_BT_UUID BT_UUID_DECLARE_128(CW_CTC_BT_UUID_VAL)

#define CW_FCS_BT_UUID_VAL BT_UUID_128_ENCODE(0x00004200, 0x4203, 0x0000, 0x0052, 0x6F6265727453)   // FCS (font customize service)
#define CW_FCS_BT_UUID BT_UUID_DECLARE_128(CW_FCS_BT_UUID_VAL)

#define CW_FCC_BT_UUID_VAL BT_UUID_128_ENCODE(0x00004200, 0x4204, 0x0000, 0x0052, 0x6F6265727453)   // FCC (font customize characteristic)
#define CW_FCC_BT_UUID BT_UUID_DECLARE_128(CW_FCC_BT_UUID_VAL)

#endif
```
